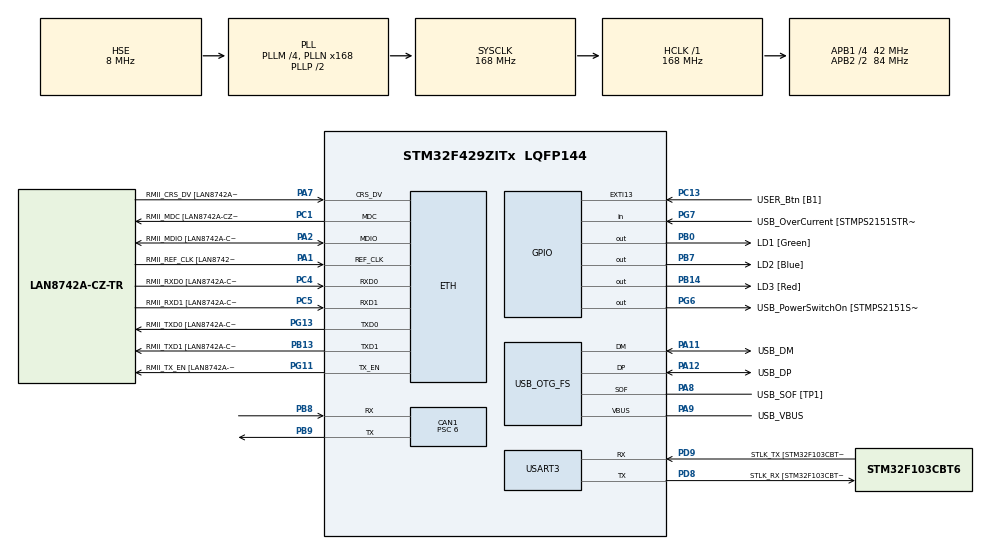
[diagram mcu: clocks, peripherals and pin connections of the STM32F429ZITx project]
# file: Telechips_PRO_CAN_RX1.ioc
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CAN1.ABOM=ENABLE
CAN1.BS1=CAN_BS1_11TQ
CAN1.BS2=CAN_BS2_2TQ
CAN1.CalculateBaudRate=500000
CAN1.CalculateTimeBit=2000
CAN1.CalculateTimeQuantum=142.85714285714286
CAN1.NART=ENABLE
CAN1.Prescaler=6
ETH.MediaInterface=HAL_ETH_RMII_MODE
ETH.PHY_Name=LAN8742A_PHY_ADDRESS
ETH.PHY_Value=0
ETH.PhyAddress=0
Mcu.Family=STM32F4
Mcu.Name=STM32F429ZITx
Mcu.Package=LQFP144
NVIC.CAN1_RX0_IRQn=true\:0\:0\:false\:false\:true\:true\:true\:true
NVIC.PriorityGroup=NVIC_PRIORITYGROUP_4
PA1.GPIO_Label=RMII_REF_CLK [LAN8742A-CZ-TR_REFCLK0]
PA1.Mode=RMII
PA1.Signal=ETH_REF_CLK
PA10.GPIO_Label=USB_ID
PA10.Signal=USB_OTG_FS_ID
PA11.GPIO_Label=USB_DM
PA11.Mode=Device_Only
PA11.Signal=USB_OTG_FS_DM
PA12.GPIO_Label=USB_DP
PA12.Mode=Device_Only
PA12.Signal=USB_OTG_FS_DP
PA13.GPIO_Label=TMS
PA13.Mode=Serial_Wire
PA13.Signal=SYS_JTMS-SWDIO
PA14.GPIO_Label=TCK
PA14.Mode=Serial_Wire
PA14.Signal=SYS_JTCK-SWCLK
PA2.GPIO_Label=RMII_MDIO [LAN8742A-CZ-TR_MDIO]
PA2.Mode=RMII
PA2.Signal=ETH_MDIO
PA7.GPIO_Label=RMII_CRS_DV [LAN8742A-CZ-TR_CRS_DV]
PA7.Mode=RMII
PA7.Signal=ETH_CRS_DV
PA8.GPIO_Label=USB_SOF [TP1]
PA8.Mode=Activate_SOF_FS
PA8.Signal=USB_OTG_FS_SOF
PA9.GPIO_Label=USB_VBUS
PA9.Mode=Activate_VBUS
PA9.Signal=USB_OTG_FS_VBUS
PB0.GPIO_Label=LD1 [Green]
PB0.Signal=GPIO_Output
PB13.GPIO_Label=RMII_TXD1 [LAN8742A-CZ-TR_TXD1]
PB13.Mode=RMII
PB13.Signal=ETH_TXD1
PB14.GPIO_Label=LD3 [Red]
PB14.Signal=GPIO_Output
PB7.GPIO_Label=LD2 [Blue]
PB7.Signal=GPIO_Output
PB8.Mode=CAN_Activate
PB8.Signal=CAN1_RX
PB9.Mode=CAN_Activate
PB9.Signal=CAN1_TX
PC1.GPIO_Label=RMII_MDC [LAN8742A-CZ-TR_MDC]
PC1.Mode=RMII
PC1.Signal=ETH_MDC
PC13.GPIO_Label=USER_Btn [B1]
PC13.Signal=GPXTI13
PC14/OSC32_IN.Mode=LSE-External-Oscillator
PC14/OSC32_IN.Signal=RCC_OSC32_IN
PC15/OSC32_OUT.Mode=LSE-External-Oscillator
PC15/OSC32_OUT.Signal=RCC_OSC32_OUT
PC4.GPIO_Label=RMII_RXD0 [LAN8742A-CZ-TR_RXD0]
PC4.Mode=RMII
PC4.Signal=ETH_RXD0
PC5.GPIO_Label=RMII_RXD1 [LAN8742A-CZ-TR_RXD1]
PC5.Mode=RMII
PC5.Signal=ETH_RXD1
PD8.GPIO_Label=STLK_RX [STM32F103CBT6_PA3]
PD8.Mode=Asynchronous
PD8.Signal=USART3_TX
PD9.GPIO_Label=STLK_TX [STM32F103CBT6_PA2]
PD9.Mode=Asynchronous
PD9.Signal=USART3_RX
PG11.GPIO_Label=RMII_TX_EN [LAN8742A-CZ-TR_TXEN]
PG11.Mode=RMII
PG11.Signal=ETH_TX_EN
PG13.GPIO_Label=RMII_TXD0 [LAN8742A-CZ-TR_TXD0]
PG13.Mode=RMII
PG13.Signal=ETH_TXD0
PG6.GPIO_Label=USB_PowerSwitchOn [STMPS2151STR_EN]
PG6.Signal=GPIO_Output
PG7.GPIO_Label=USB_OverCurrent [STMPS2151STR_FAULT]
PG7.Signal=GPIO_Input
PH0/OSC_IN.GPIO_Label=MCO [STM32F103CBT6_PA8]
PH0/OSC_IN.Mode=HSE-External-Clock-Source
PH0/OSC_IN.Signal=RCC_OSC_IN
PH1/OSC_OUT.Mode=HSE-External-Clock-Source
PH1/OSC_OUT.Signal=RCC_OSC_OUT
ProjectManager.HeapSize=0x200
ProjectManager.StackSize=0x400
ProjectManager.TargetToolchain=STM32CubeIDE
RCC.48MHZClocksFreq_Value=48000000
RCC.AHBFreq_Value=168000000
RCC.APB1CLKDivider=RCC_HCLK_DIV4
RCC.APB1Freq_Value=42000000
RCC.APB1TimFreq_Value=84000000
RCC.APB2CLKDivider=RCC_HCLK_DIV2
RCC.APB2Freq_Value=84000000
RCC.APB2TimCLKDivider=2
RCC.APB2TimFreq_Value=168000000
RCC.CortexFreq_Value=168000000
RCC.HCLKFreq_Value=168000000
RCC.HSE_VALUE=8000000
RCC.HSI_VALUE=16000000
RCC.PLLM=4
RCC.PLLMUL=RCC_PLL_MUL9
RCC.PLLN=168
RCC.PLLQ=7
RCC.PRESCALERUSB=RCC_USBCLKSOURCE_PLL_DIV1_5
RCC.SYSCLKFreq_VALUE=168000000
RCC.SYSCLKSource=RCC_SYSCLKSOURCE_PLLCLK
RCC.SYSCLKSourceVirtual=RCC_SYSCLKSOURCE_PLLCLK
RCC.USBFreq_Value=48000000
RCC.VCOOutputFreq_Value=336000000
USART3.VirtualMode=VM_ASYNC
USB_OTG_FS.VirtualMode=Device_Only
board=NUCLEO-F429ZI

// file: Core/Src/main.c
/* USER CODE BEGIN Header */
/**
  ******************************************************************************
  * @file           : main.c
  * @brief          : Main program body
  ******************************************************************************
  * @attention
  *
  * Copyright (c) 2025 STMicroelectronics.
  * All rights reserved.
  *
  * This software is licensed under terms that can be found in the LICENSE file
  * in the root directory of this software component.
  * If no LICENSE file comes with this software, it is provided AS-IS.
  *
  ******************************************************************************
  */
/* USER CODE END Header */
#include "main.h"
#include "string.h"

/* USER CODE BEGIN Includes */
#include <stdarg.h>
#include <stdio.h>
#define printf	Uart3_Printf
/* USER CODE END Includes */

ETH_TxPacketConfig TxConfig;
ETH_DMADescTypeDef  DMARxDscrTab[ETH_RX_DESC_CNT]; /* Ethernet Rx DMA Descriptors */
ETH_DMADescTypeDef  DMATxDscrTab[ETH_TX_DESC_CNT]; /* Ethernet Tx DMA Descriptors */

CAN_HandleTypeDef hcan1;

ETH_HandleTypeDef heth;

UART_HandleTypeDef huart3;

PCD_HandleTypeDef hpcd_USB_OTG_FS;

void SystemClock_Config(void);
static void MX_GPIO_Init(void);
static void MX_ETH_Init(void);
static void MX_USART3_UART_Init(void);
static void MX_USB_OTG_FS_PCD_Init(void);
static void MX_CAN1_Init(void);
/* USER CODE BEGIN PFP */

void Uart3_Send_Byte(char ch){
	//	TDR이 비었는 경우에 쓰기 가능 (TXE == 1 대기)
	if(ch=='\n'){
		USART3->DR = '\r';	// TDR <- c
		while((USART3->SR>>7 & 0x1)==0);
	}
	USART3->DR = ch;		// TDR <- c
	while((USART3->SR>>7 & 0x1)==0);
}

void Uart3_Send_String(char* str){
	while(*str){
		Uart3_Send_Byte(*str++);
	}
}

void Uart3_Printf(char *fmt,...)
{
	va_list ap;
	char string[256];

	va_start(ap,fmt);
	vsprintf(string,fmt,ap);
	va_end(ap);
	Uart3_Send_String(string);
}

// CAN Receive Start
void CAN_StartReceiver()
{
	HAL_CAN_Start(&hcan1);
	HAL_CAN_ActivateNotification(&hcan1,CAN_IT_RX_FIFO0_MSG_PENDING);
}

// CAN Receive Callback
CAN_RxHeaderTypeDef rxHeader;
uint8_t rxData[8];
volatile uint8_t can_rx_flag = 0;

void HAL_CAN_RxFifo0MsgPendingCallback(CAN_HandleTypeDef *hcan)
{
	 CAN_RxHeaderTypeDef rxheader;
	 uint8_t rxdata[8];

	 HAL_CAN_GetRxMessage(hcan, CAN_RX_FIFO0, &rxheader, rxdata);

	 for(int i= 0; i < rxheader.DLC; ++i)
	 {
		 printf("[RX] ID : 0x%03X , Data = 0x%02X\r\n", rxheader.StdId, rxdata[i]);
	 }

}

// CAN Filter Configuration

void CAN_FilterConfig()
{
	CAN_FilterTypeDef filter;

	filter.FilterBank = 0;
	filter.FilterMode = CAN_FILTERMODE_IDMASK;
	filter.FilterScale = CAN_FILTERSCALE_32BIT;
	filter.FilterIdHigh = 0x0000;
	filter.FilterIdLow = 0x0000;
	filter.FilterMaskIdHigh = 0x0000;
	filter.FilterMaskIdLow = 0x0000;
	filter.FilterFIFOAssignment = CAN_FILTER_FIFO0;
	filter.FilterActivation = ENABLE;
	filter.SlaveStartFilterBank = 14;

	 HAL_CAN_ConfigFilter(&hcan1, &filter);
}

/* USER CODE END PFP */

int main(void)
{

  /* MCU Configuration--------------------------------------------------------*/

  /* Reset of all peripherals, Initializes the Flash interface and the Systick. */
  HAL_Init();

  /* Configure the system clock */
  SystemClock_Config();

  /* Initialize all configured peripherals */
  MX_GPIO_Init();
  MX_ETH_Init();
  MX_USART3_UART_Init();
  MX_USB_OTG_FS_PCD_Init();
  MX_CAN1_Init();
  /* USER CODE BEGIN 2 */
  CAN_FilterConfig();
  CAN_StartReceiver();

  printf("Receive Complete!!!\n");
  /* USER CODE END 2 */

  /* Infinite loop */
  while (1)
  {

  }
}

void SystemClock_Config(void)
{
  RCC_OscInitTypeDef RCC_OscInitStruct = {0};
  RCC_ClkInitTypeDef RCC_ClkInitStruct = {0};

  /** Configure the main internal regulator output voltage
  */
  __HAL_RCC_PWR_CLK_ENABLE();
  __HAL_PWR_VOLTAGESCALING_CONFIG(PWR_REGULATOR_VOLTAGE_SCALE1);

  /** Initializes the RCC Oscillators according to the specified parameters
  * in the RCC_OscInitTypeDef structure.
  */
  RCC_OscInitStruct.OscillatorType = RCC_OSCILLATORTYPE_HSE;
  RCC_OscInitStruct.HSEState = RCC_HSE_BYPASS;
  RCC_OscInitStruct.PLL.PLLState = RCC_PLL_ON;
  RCC_OscInitStruct.PLL.PLLSource = RCC_PLLSOURCE_HSE;
  RCC_OscInitStruct.PLL.PLLM = 4;
  RCC_OscInitStruct.PLL.PLLN = 168;
  RCC_OscInitStruct.PLL.PLLP = RCC_PLLP_DIV2;
  RCC_OscInitStruct.PLL.PLLQ = 7;
  if (HAL_RCC_OscConfig(&RCC_OscInitStruct) != HAL_OK)
  {
    Error_Handler();
  }

  /** Initializes the CPU, AHB and APB buses clocks
  */
  RCC_ClkInitStruct.ClockType = RCC_CLOCKTYPE_HCLK|RCC_CLOCKTYPE_SYSCLK
                              |RCC_CLOCKTYPE_PCLK1|RCC_CLOCKTYPE_PCLK2;
  RCC_ClkInitStruct.SYSCLKSource = RCC_SYSCLKSOURCE_PLLCLK;
  RCC_ClkInitStruct.AHBCLKDivider = RCC_SYSCLK_DIV1;
  RCC_ClkInitStruct.APB1CLKDivider = RCC_HCLK_DIV4;
  RCC_ClkInitStruct.APB2CLKDivider = RCC_HCLK_DIV2;

  if (HAL_RCC_ClockConfig(&RCC_ClkInitStruct, FLASH_LATENCY_5) != HAL_OK)
  {
    Error_Handler();
  }
}

static void MX_CAN1_Init(void)
{

  hcan1.Instance = CAN1;
  hcan1.Init.Prescaler = 6;
  hcan1.Init.Mode = CAN_MODE_NORMAL;
  hcan1.Init.SyncJumpWidth = CAN_SJW_1TQ;
  hcan1.Init.TimeSeg1 = CAN_BS1_11TQ;
  hcan1.Init.TimeSeg2 = CAN_BS2_2TQ;
  hcan1.Init.TimeTriggeredMode = DISABLE;
  hcan1.Init.AutoBusOff = ENABLE;
  hcan1.Init.AutoWakeUp = DISABLE;
  hcan1.Init.AutoRetransmission = ENABLE;
  hcan1.Init.ReceiveFifoLocked = DISABLE;
  hcan1.Init.TransmitFifoPriority = DISABLE;
  if (HAL_CAN_Init(&hcan1) != HAL_OK)
  {
    Error_Handler();
  }

}

static void MX_ETH_Init(void)
{

   static uint8_t MACAddr[6];

  heth.Instance = ETH;
  MACAddr[0] = 0x00;
  MACAddr[1] = 0x80;
  MACAddr[2] = 0xE1;
  MACAddr[3] = 0x00;
  MACAddr[4] = 0x00;
  MACAddr[5] = 0x00;
  heth.Init.MACAddr = &MACAddr[0];
  heth.Init.MediaInterface = HAL_ETH_RMII_MODE;
  heth.Init.TxDesc = DMATxDscrTab;
  heth.Init.RxDesc = DMARxDscrTab;
  heth.Init.RxBuffLen = 1524;

  if (HAL_ETH_Init(&heth) != HAL_OK)
  {
    Error_Handler();
  }

  memset(&TxConfig, 0 , sizeof(ETH_TxPacketConfig));
  TxConfig.Attributes = ETH_TX_PACKETS_FEATURES_CSUM | ETH_TX_PACKETS_FEATURES_CRCPAD;
  TxConfig.ChecksumCtrl = ETH_CHECKSUM_IPHDR_PAYLOAD_INSERT_PHDR_CALC;
  TxConfig.CRCPadCtrl = ETH_CRC_PAD_INSERT;

}

static void MX_USART3_UART_Init(void)
{

  huart3.Instance = USART3;
  huart3.Init.BaudRate = 115200;
  huart3.Init.WordLength = UART_WORDLENGTH_8B;
  huart3.Init.StopBits = UART_STOPBITS_1;
  huart3.Init.Parity = UART_PARITY_NONE;
  huart3.Init.Mode = UART_MODE_TX_RX;
  huart3.Init.HwFlowCtl = UART_HWCONTROL_NONE;
  huart3.Init.OverSampling = UART_OVERSAMPLING_16;
  if (HAL_UART_Init(&huart3) != HAL_OK)
  {
    Error_Handler();
  }

}

static void MX_USB_OTG_FS_PCD_Init(void)
{

  hpcd_USB_OTG_FS.Instance = USB_OTG_FS;
  hpcd_USB_OTG_FS.Init.dev_endpoints = 4;
  hpcd_USB_OTG_FS.Init.speed = PCD_SPEED_FULL;
  hpcd_USB_OTG_FS.Init.dma_enable = DISABLE;
  hpcd_USB_OTG_FS.Init.phy_itface = PCD_PHY_EMBEDDED;
  hpcd_USB_OTG_FS.Init.Sof_enable = ENABLE;
  hpcd_USB_OTG_FS.Init.low_power_enable = DISABLE;
  hpcd_USB_OTG_FS.Init.lpm_enable = DISABLE;
  hpcd_USB_OTG_FS.Init.vbus_sensing_enable = ENABLE;
  hpcd_USB_OTG_FS.Init.use_dedicated_ep1 = DISABLE;
  if (HAL_PCD_Init(&hpcd_USB_OTG_FS) != HAL_OK)
  {
    Error_Handler();
  }

}

static void MX_GPIO_Init(void)
{
  GPIO_InitTypeDef GPIO_InitStruct = {0};

  /* GPIO Ports Clock Enable */
  __HAL_RCC_GPIOC_CLK_ENABLE();
  __HAL_RCC_GPIOH_CLK_ENABLE();
  __HAL_RCC_GPIOA_CLK_ENABLE();
  __HAL_RCC_GPIOB_CLK_ENABLE();
  __HAL_RCC_GPIOD_CLK_ENABLE();
  __HAL_RCC_GPIOG_CLK_ENABLE();

  /*Configure GPIO pin Output Level */
  HAL_GPIO_WritePin(GPIOB, LD1_Pin|LD3_Pin|LD2_Pin, GPIO_PIN_RESET);

  /*Configure GPIO pin Output Level */
  HAL_GPIO_WritePin(USB_PowerSwitchOn_GPIO_Port, USB_PowerSwitchOn_Pin, GPIO_PIN_RESET);

  /*Configure GPIO pin : USER_Btn_Pin */
  GPIO_InitStruct.Pin = USER_Btn_Pin;
  GPIO_InitStruct.Mode = GPIO_MODE_IT_RISING;
  GPIO_InitStruct.Pull = GPIO_NOPULL;
  HAL_GPIO_Init(USER_Btn_GPIO_Port, &GPIO_InitStruct);

  /*Configure GPIO pins : LD1_Pin LD3_Pin LD2_Pin */
  GPIO_InitStruct.Pin = LD1_Pin|LD3_Pin|LD2_Pin;
  GPIO_InitStruct.Mode = GPIO_MODE_OUTPUT_PP;
  GPIO_InitStruct.Pull = GPIO_NOPULL;
  GPIO_InitStruct.Speed = GPIO_SPEED_FREQ_LOW;
  HAL_GPIO_Init(GPIOB, &GPIO_InitStruct);

  /*Configure GPIO pin : USB_PowerSwitchOn_Pin */
  GPIO_InitStruct.Pin = USB_PowerSwitchOn_Pin;
  GPIO_InitStruct.Mode = GPIO_MODE_OUTPUT_PP;
  GPIO_InitStruct.Pull = GPIO_NOPULL;
  GPIO_InitStruct.Speed = GPIO_SPEED_FREQ_LOW;
  HAL_GPIO_Init(USB_PowerSwitchOn_GPIO_Port, &GPIO_InitStruct);

  /*Configure GPIO pin : USB_OverCurrent_Pin */
  GPIO_InitStruct.Pin = USB_OverCurrent_Pin;
  GPIO_InitStruct.Mode = GPIO_MODE_INPUT;
  GPIO_InitStruct.Pull = GPIO_NOPULL;
  HAL_GPIO_Init(USB_OverCurrent_GPIO_Port, &GPIO_InitStruct);

}

void Error_Handler(void)
{
  __disable_irq();
  while (1)
  {
  }
}
